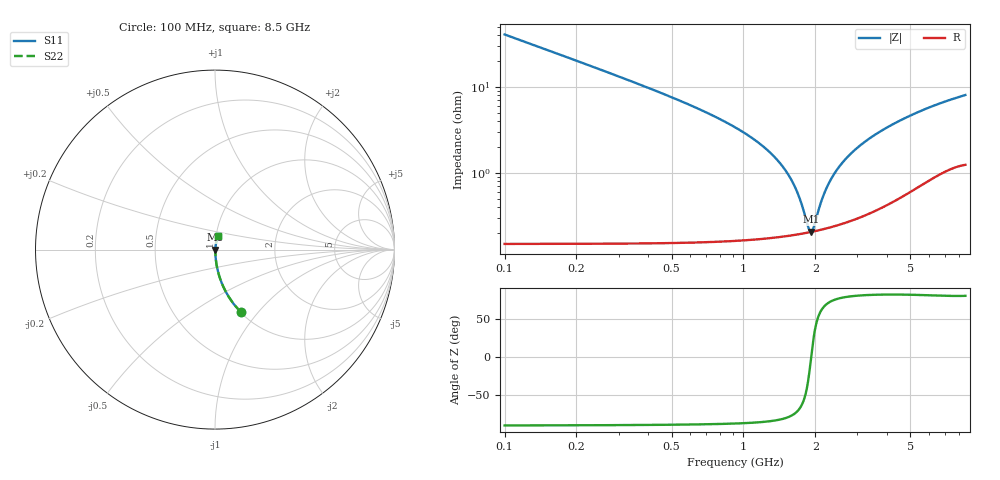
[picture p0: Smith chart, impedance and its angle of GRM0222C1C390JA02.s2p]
!Murata Part Number: GRM0222C1C390JA02
!These Parameters are Measured in Series Mode Connection
!Data Generated on Mar 30, 2021
!  o--ll--o
!Port1  Port2
!  o------o
!Operation Temp=25[degC], DC Bias Voltage=0[V]
!Freq. Start=100[MHz] Stop=9[GHz] 401[Steps]
# Hz S RI R 50
!Freq.(Hz) S11(Real) S11(Imag) S21(Real) S21(Imag) S12(Real) S12(Imag) S22(Real) S22(Imag)
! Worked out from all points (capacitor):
!   401 points, 100 MHz to 8.5 GHz, reference 50 ohm
!   read as one part in series: C = 39 pF near 142 MHz
!   lowest |Z| = 209 mohm at 1.927 GHz (marker M1)
!   series resonance near 1.921 GHz, so ESL is about 180 pH
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1e8  0.143 -0.3482  0.857 0.3482  0.857 0.3482  0.143 -0.3482
1.84e8  0.0474 -0.209  0.9526 0.209  0.9526 0.209  0.0474 -0.209
2.68e8  0.0232 -0.1456  0.9768 0.1456  0.9768 0.1456  0.0232 -0.1456
4.57e8  0.00855 -0.0834  0.9915 0.0834  0.9915 0.0834  0.00855 -0.0834
6.88e8  0.00423 -0.0514  0.9958 0.0514  0.9958 0.0514  0.00423 -0.0514
1.255e9  0.00209 -0.0186  0.9979 0.0186  0.9979 0.0186  0.00209 -0.0186
1.507e9  0.00196 -0.0104  0.998 0.0104  0.998 0.0104  0.00196 -0.0104
1.612e9  0.00196 -0.00745  0.998 0.00745  0.998 0.00745  0.00196 -0.00745
1.696e9  0.00197 -0.00528  0.998 0.00528  0.998 0.00528  0.00197 -0.00528
1.864e9  0.00204 -0.00127  0.998 0.00127  0.998 0.00127  0.00204 -0.00127
1.906e9  0.00206 -0.000331  0.9979 0.000331  0.9979 0.000331  0.00206 -0.000331
1.927e9  0.00208 0.000132  0.9979 -0.000132  0.9979 -0.000132  0.00208 0.000132
1.969e9  0.0021 0.00104  0.9979 -0.00104  0.9979 -0.00104  0.0021 0.00104
2.158e9  0.00225 0.00493  0.9977 -0.00493  0.9977 -0.00493  0.00225 0.00493
2.326e9  0.00242 0.00813  0.9976 -0.00813  0.9976 -0.00813  0.00242 0.00813
2.578e9  0.00272 0.0126  0.9973 -0.0126  0.9973 -0.0126  0.00272 0.0126
2.914e9  0.0032 0.0181  0.9968 -0.0181  0.9968 -0.0181  0.0032 0.0181
3.502e9  0.00426 0.0267  0.9957 -0.0267  0.9957 -0.0267  0.00426 0.0267
4.3e9  0.00612 0.0372  0.9939 -0.0372  0.9939 -0.0372  0.00612 0.0372
5.707e9  0.0104 0.0533  0.9896 -0.0533  0.9896 -0.0533  0.0104 0.0533
7.114e9  0.015 0.0664  0.985 -0.0664  0.985 -0.0664  0.015 0.0664
8.5e9  0.0184 0.0773  0.9816 -0.0773  0.9816 -0.0773  0.0184 0.0773
